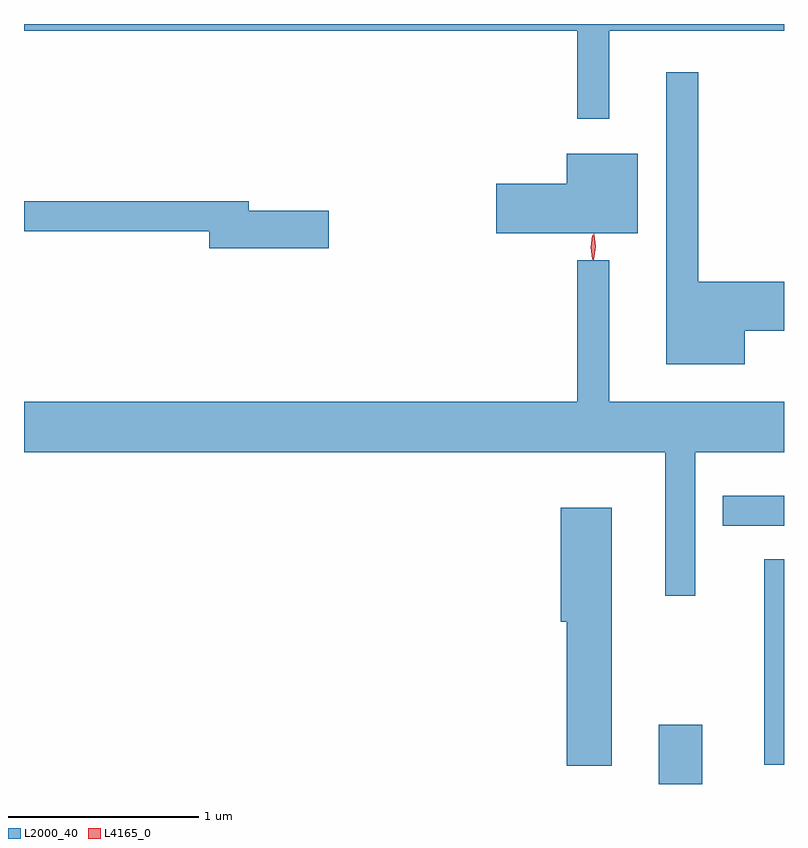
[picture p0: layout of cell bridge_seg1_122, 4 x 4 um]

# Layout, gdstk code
import gdstk
lib = gdstk.Library(unit=1e-6, precision=1e-09)
def R(c, l, rs):  # rectangles x0, y0, x1, y1
    for r in rs: c.add(gdstk.rectangle(r[:2], r[2:], *l))
def P(c, l, *ps):  # polygons
    for p in ps: c.add(gdstk.Polygon(p, *l))
L2000_40 = (2000, 40)
L4165_0 = (4165, 0)

bridge_seg1_122 = lib.new_cell('bridge_seg1_122')
R(bridge_seg1_122, L2000_40, [(1389.051,868.971,1389.279,869.284), (1389.606,869.073,1389.71,870.153), (1389.388,870.331,1389.71,870.489)])
P(bridge_seg1_122, L2000_40, [(1388.789,872.936),(1389.71,872.936),(1389.71,872.971),(1385.71,872.971),(1385.71,872.936),(1388.621,872.936),(1388.621,872.473),(1388.789,872.473)],
  [(1389.504,871.356),(1389.71,871.356),(1389.71,871.614),(1389.259,871.614),(1389.259,872.718),(1389.091,872.718),(1389.091,871.181),(1389.504,871.181)],
  [(1388.939,872.289),(1388.566,872.289),(1388.566,872.129),(1388.196,872.129),(1388.196,871.871),(1388.939,871.871)],
  [(1387.314,871.989),(1386.894,871.989),(1386.894,872.039),(1385.71,872.039),(1385.71,871.881),(1386.686,871.881),(1386.686,871.791),(1387.314,871.791)],
  [(1389.244,870.716),(1389.71,870.716),(1389.71,870.984),(1388.789,870.984),(1388.789,871.728),(1388.621,871.728),(1388.621,870.984),(1385.71,870.984),(1385.71,870.716),(1389.086,870.716),(1389.086,869.963),(1389.244,869.963)],
  [(1388.804,870.424),(1388.536,870.424),(1388.536,869.826),(1388.566,869.826),(1388.566,869.066),(1388.804,869.066)])
P(bridge_seg1_122, L4165_0, [(1388.707,871.73),(1388.707,871.73),(1388.698,871.798),(1388.709,871.865),(1388.709,871.866),(1388.71,871.865),(1388.718,871.798),(1388.708,871.73)],
  [(1388.702,871.733),(1388.702,871.734),(1388.692,871.796),(1388.702,871.859),(1388.702,871.86),(1388.703,871.859),(1388.712,871.796),(1388.703,871.734)])

lib.write_gds('bridge_seg1_122.gds')
